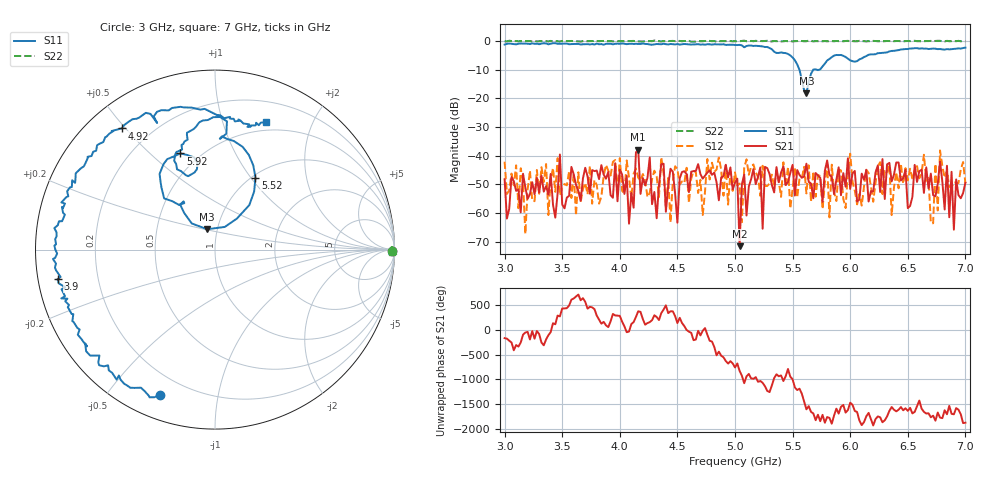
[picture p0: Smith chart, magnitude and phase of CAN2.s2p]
!Keysight Technologies N9918A: A.08.15
!Date: Thursday, 07 December 2017 12:36:18
!Timezone: (GMT-08:00) Pacific Time (US & Canada)
!Model: N9918A
!Serial: MY53103150
!GPS Latitude:
!GPS Longitude:
!GPS TimeStamp: 0001-01-01 00:00:00Z
!GPS Seconds Since Last Read: 0
!CHECKSUM:1375759840
!Correction: S11(ON U)S21(ON U)S12(ON U)S22(ON U)
!S2P File: Measurements:S11,S21,S12,S22:
# Hz S DB R 50
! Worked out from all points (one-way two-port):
!   201 points, 3 GHz to 7 GHz, reference 50 ohm
!   highest |S21| = -37.90 dB at 4.16 GHz (marker M1); lowest = -71.5 dB at 5.04 GHz (marker M2)
!   lowest |S11| = -18.3 dB at 5.62 GHz (marker M3), VSWR 1.28, Z = 44.6 + j10.3 ohm
!   |S11| at or under -10 dB: 5.559 GHz to 5.679 GHz (120.2 MHz wide, 2.14 % of centre); 5.708561 GHz to 5.732206 GHz (23.64 MHz wide, 0.413 % of centre)
!   |S22| runs from -0.3 to 0.2 dB; largest |S21 - S12| = 0.016
!   S11 on the Smith chart (normalised r, x): 3 GHz: 0.11, -0.69; 3.9 GHz: 0.06, -0.09; 4.92 GHz: 0.10, +0.49; 5.52 GHz: 1.04, +1.05; 5.92 GHz: 0.39, +0.63; 7 GHz: 0.41, +1.40
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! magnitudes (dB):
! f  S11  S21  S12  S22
! 3 GHz  -1.3  -48.2  -42.1  -0.1
! 3.18 GHz  -0.9  -51.1  -67.3  -0.1
! 3.22 GHz  -1.1  -53.4  -45.1  -0.1
! 3.68 GHz  -1.2  -47.9  -51.6  -0.1
! 3.9 GHz  -1.0  -45.6  -45.2  -0.1
! 4.08 GHz  -1.0  -63.7  -47.8  0.0
! 4.16 GHz  -1.1  -37.9  -47.7  -0.1
! 4.34 GHz  -1.1  -50.2  -54.4  -0.1
! 4.92 GHz  -1.4  -43.1  -43.3  -0.1
! 5 GHz  -1.4  -49.4  -45.8  -0.1
! 5.04 GHz  -1.4  -71.5  -49.7  -0.1
! 5.08 GHz  -2.2  -46.5  -44.1  0.1
! 5.52 GHz  -6.7  -53.9  -44.0  -0.1
! 5.62 GHz  -18.3  -42.8  -53.1  -0.1
! 5.68 GHz  -10.0  -54.8  -45.4  -0.1
! 5.92 GHz  -4.9  -53.8  -45.1  0.0
! 6.34 GHz  -3.6  -42.5  -43.3  0.0
! 6.64 GHz  -2.7  -52.9  -39.7  -0.1
! 6.72 GHz  -2.7  -53.7  -63.5  -0.1
! 6.84 GHz  -2.8  -43.5  -45.3  0.0
! 6.9 GHz  -2.8  -65.7  -49.2  0.0
! 7 GHz  -2.3  -49.4  -49.6  -0.1
